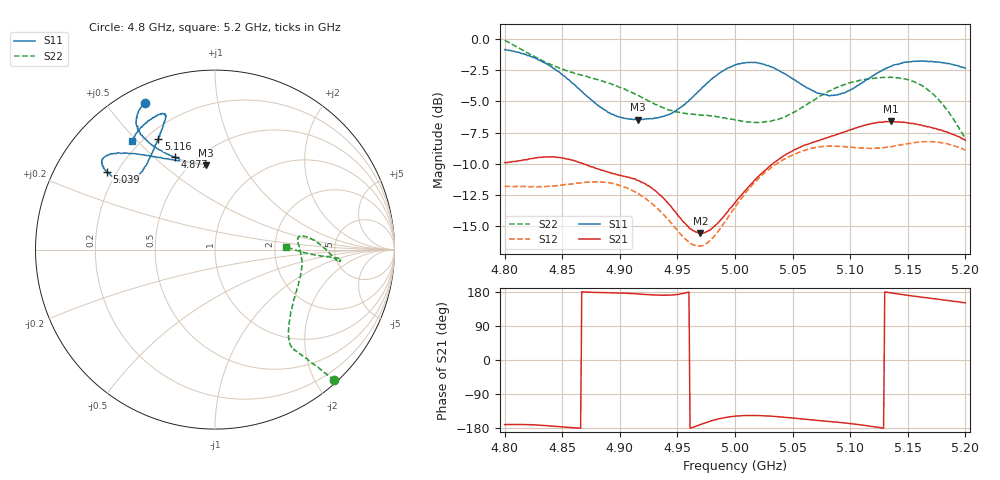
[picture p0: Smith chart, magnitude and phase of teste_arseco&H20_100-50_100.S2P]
! Network Analyzer HP8722D
! Hewlett-Packard
! Data name: Linha & Wilkinson
! Saver's name: Rodrigo Anjos
! Comments: Teste da utilização de aquisição
! continua pelo VNA HP8722D
! Time and date: 6/5/2025 13:24
!  Frequency  S11  S21  S12  S22
# HZ  S  MA R 50
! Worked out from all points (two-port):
!   401 points, 4.8 GHz to 5.2 GHz, reference 50 ohm
!   highest |S21| = -6.60 dB at 5.135 GHz (marker M1); lowest = -15.5 dB at 4.97 GHz (marker M2)
!   |S21| within 3 dB of the highest: 4.821 GHz to 4.853 GHz (32.04 MHz wide, 0.662 % of centre); 5.039 GHz to end of sweep
!   lowest |S11| = -6.5 dB at 4.916 GHz (marker M3), VSWR 2.81, Z = 29.2 + j35.5 ohm
!   |S11| at or under -10 dB: nowhere
!   |S22| runs from -8.0 to -0.1 dB; largest |S21 - S12| = 0.83
!   S11 on the Smith chart (normalised r, x): 4.8 GHz: 0.07, +0.63; 4.877 GHz: 0.39, +0.59; 5.039 GHz: 0.16, +0.31; 5.116 GHz: 0.24, +0.59; 5.2 GHz: 0.17, +0.48
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4.8e9  0.9045 115.7  0.3202 -170.5  0.2569 -86.1  0.9847 -47.6
4.819e9  0.8628 120.3  0.329 -170.5  0.2559 -81.9  0.882 -48.8
4.836e9  0.7971 122.6  0.3369 -173.2  0.2566 -76.3  0.8038 -49.8
4.867e9  0.6158 117.9  0.3183 179.8  0.2657 -67.4  0.7155 -51.6
4.877e9  0.5618 113.4  0.3069 178.7  0.2675 -66.3  0.6943 -51.9
4.898e9  0.4887 102.2  0.2862 177.0  0.2604 -66.5  0.6453 -50.4
4.916e9  0.4749 96.2  0.2708 174.1  0.24 -68.3  0.5933 -46.1
4.934e9  0.4843 99.1  0.2393 171.1  0.2071 -69.5  0.5388 -37.5
4.95e9  0.5226 109.3  0.1981 172.9  0.1714 -65.6  0.5095 -27.1
4.97e9  0.6262 123.9  0.167 -170.6  0.1484 -46.6  0.4948 -14.2
4.981e9  0.6981 129.9  0.1762 -159.3  0.1604 -34.1  0.4896 -8.8
5e9  0.7863 137.4  0.2215 -148.3  0.2125 -21.5  0.4736 -0.4
5.018e9  0.8035 141.6  0.2744 -146.4  0.2694 -18.2  0.4633 5.8
5.039e9  0.7416 144.2  0.3316 -150.0  0.3221 -18.3  0.4791 8.9
5.067e9  0.6223 142.0  0.3853 -158.0  0.3657 -20.6  0.5628 4.6
5.087e9  0.5959 133.4  0.4124 -163.8  0.3723 -23.6  0.6356 -1.4
5.116e9  0.6947 117.0  0.4547 -174.2  0.3648 -26.8  0.6903 -5.3
5.134e9  0.7711 111.3  0.4661 177.8  0.3698 -28.7  0.7004 -4.8
5.135e9  0.7735 110.9  0.4675 177.3  0.3702 -28.8  0.7029 -4.7
5.162e9  0.8149 113.0  0.4506 165.8  0.3874 -35.5  0.6512 -3.8
5.179e9  0.8055 118.6  0.432 159.1  0.3844 -40.7  0.5552 -2.9
5.2e9  0.7635 127.3  0.3923 150.8  0.3588 -46.4  0.3975 2.4
